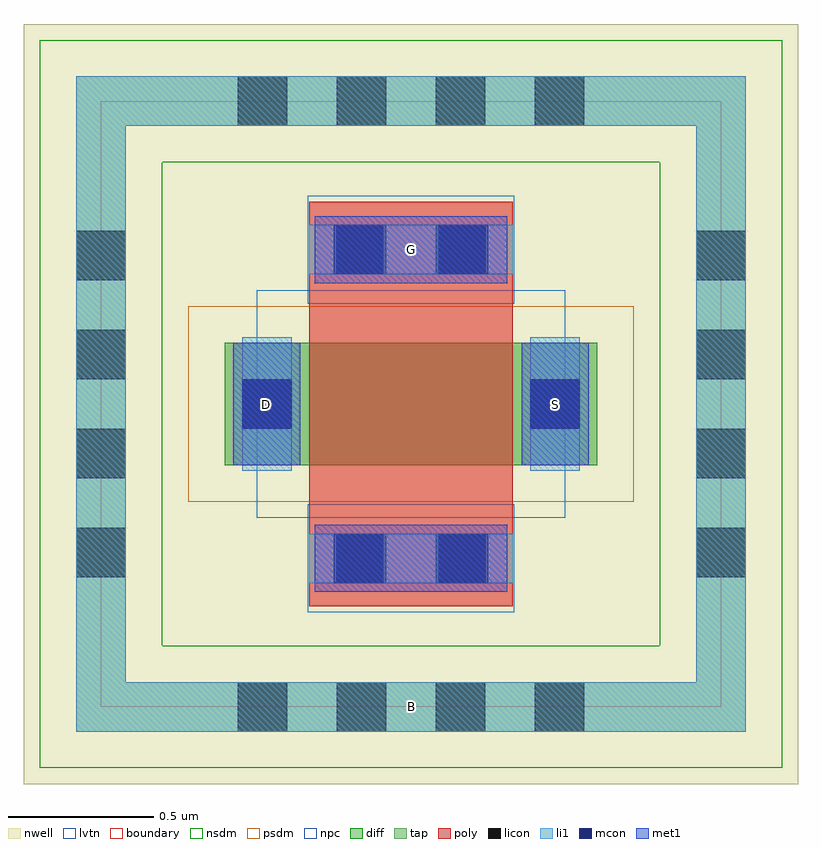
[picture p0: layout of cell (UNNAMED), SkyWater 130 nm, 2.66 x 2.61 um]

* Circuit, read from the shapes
.subckt (UNNAMED) B D G S
XM1 S G D B sky130_fd_pr__pfet_01v8_lvt w=0.42 l=0.7
.ends

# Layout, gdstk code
import gdstk
lib = gdstk.Library(unit=1e-6, precision=1e-09)
def R(c, l, rs):  # rectangles x0, y0, x1, y1
    for r in rs: c.add(gdstk.rectangle(r[:2], r[2:], *l))
def A(c, l, x, y, w, h, nx, ny, dx, dy):  # array of equal rectangles
    R(c, l, [(x+i*dx, y+j*dy, x+i*dx+w, y+j*dy+h) for i in range(nx) for j in range(ny)])
nwell = (64, 20)
diff = (65, 20)
tap = (65, 44)
poly = (66, 20)
licon = (66, 44)
li1 = (67, 20)
mcon = (67, 44)
met1 = (68, 20)
nsdm = (93, 44)
psdm = (94, 20)
npc = (95, 20)
lvtn = (125, 44)
boundary = (235, 4)

c__unnamed_ = lib.new_cell('(UNNAMED)')
R(c__unnamed_, nwell, [(-1.33,-1.305,1.33,1.305)])
R(c__unnamed_, diff, [(-0.64,-0.21,0.64,0.21)])
R(c__unnamed_, tap, [(-1.15,-1.125,1.15,-0.955), (-1.15,-0.955,-0.98,0.955), (0.98,-0.955,1.15,0.955), (-1.15,0.955,1.15,1.125)])
R(c__unnamed_, poly, [(-0.35,-0.695,0.35,0.695)])
A(c__unnamed_, licon, -0.595, -1.125, 0.17, 0.17, 4, 2, 0.34, 2.08)
A(c__unnamed_, licon, -1.15, -0.595, 0.17, 0.17, 1, 4, 0, 0.34)
A(c__unnamed_, licon, 0.98, -0.595, 0.17, 0.17, 1, 4, 0, 0.34)
R(c__unnamed_, licon, [(-0.255,-0.615,-0.085,-0.445), (0.085,-0.615,0.255,-0.445), (-0.58,-0.085,-0.41,0.085), (0.41,-0.085,0.58,0.085), (-0.255,0.445,-0.085,0.615), (0.085,0.445,0.255,0.615)])
R(c__unnamed_, li1, [(-1.15,-1.125,1.15,-0.955), (-1.15,-0.955,-0.98,0.955), (0.98,-0.955,1.15,0.955), (-0.35,-0.615,0.35,-0.445), (-0.58,-0.23,-0.41,0.23), (0.41,-0.23,0.58,0.23), (-0.35,0.445,0.35,0.615), (-1.15,0.955,1.15,1.125)])
R(c__unnamed_, mcon, [(-0.265,-0.615,-0.095,-0.445), (0.095,-0.615,0.265,-0.445), (-0.58,-0.085,-0.41,0.085), (0.41,-0.085,0.58,0.085), (-0.265,0.445,-0.095,0.615), (0.095,0.445,0.265,0.615)])
R(c__unnamed_, met1, [(-0.33,-0.645,0.33,-0.415), (-0.61,-0.21,-0.38,0.21), (0.38,-0.21,0.61,0.21), (-0.33,0.415,0.33,0.645)])
R(c__unnamed_, nsdm, [(-1.275,-1.25,1.275,-0.83), (-1.275,-0.83,-0.855,0.83), (0.855,-0.83,1.275,0.83), (-1.275,0.83,1.275,1.25)])
R(c__unnamed_, psdm, [(-0.765,-0.335,0.765,0.335)])
R(c__unnamed_, npc, [(-0.355,-0.715,0.355,-0.345), (-0.355,0.345,0.355,0.715)])
R(c__unnamed_, lvtn, [(-0.53,-0.39,0.53,0.39)])
R(c__unnamed_, boundary, [(-1.065,-1.04,1.065,1.04)])
c__unnamed_.add(gdstk.Label('B', (0,-1.04), layer=67, texttype=5))
c__unnamed_.add(gdstk.Label('D', (-0.495,0), layer=67, texttype=5))
c__unnamed_.add(gdstk.Label('S', (0.495,0), layer=67, texttype=5))
c__unnamed_.add(gdstk.Label('G', (0,0.53), layer=67, texttype=5))

lib.write_gds('_UNNAMED_.gds')
